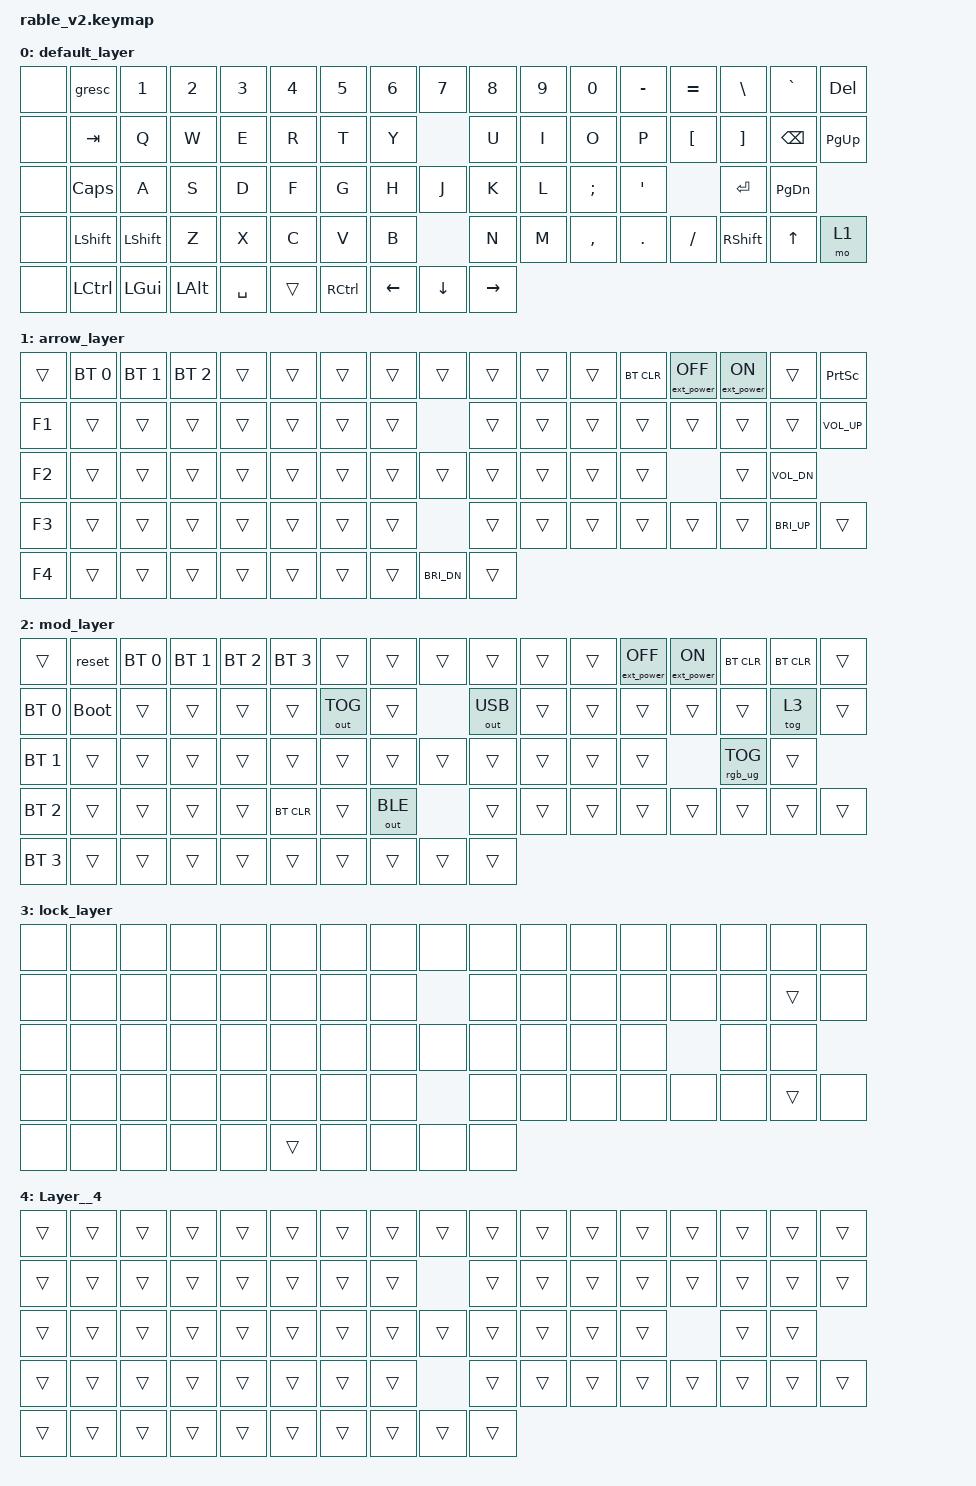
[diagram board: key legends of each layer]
/*
 * Copyright (c) 2021 Nick Winans
 *
 * SPDX-License-Identifier: MIT
 */

#include <behaviors.dtsi>
#include <dt-bindings/zmk/keys.h>
#include <dt-bindings/zmk/bt.h>
#include <dt-bindings/zmk/ext_power.h>
#include <dt-bindings/zmk/outputs.h>
#include <dt-bindings/zmk/rgb.h>

/ {
    keymap {
        compatible = "zmk,keymap";

        default_layer {
            bindings = <
&none     &gresc  &kp NUMBER_1        &kp N2     &kp N3  &kp N4     &kp N5    &kp N6    &kp N7     &kp N8     &kp N9    &kp N0  &kp MINUS  &kp EQUAL  &kp BACKSLASH  &kp GRAVE  &kp DELETE
&none    &kp TAB         &kp Q         &kp W      &kp E   &kp R      &kp T     &kp Y     &kp U      &kp I      &kp O     &kp P   &kp LBKT   &kp RBKT  &kp BACKSPACE  &kp PG_UP
&none   &kp CLCK         &kp A         &kp S      &kp D   &kp F      &kp G     &kp H     &kp J      &kp K      &kp L  &kp SEMI    &kp SQT    &kp RET      &kp PG_DN
&none  &kp LSHFT     &kp LSHFT         &kp Z      &kp X   &kp C      &kp V     &kp B     &kp N      &kp M  &kp COMMA   &kp DOT   &kp FSLH  &kp RSHFT         &kp UP      &mo 1
&none  &kp LCTRL      &kp LGUI  &kp LEFT_ALT  &kp SPACE  &trans  &kp RCTRL  &kp LEFT  &kp DOWN  &kp RIGHT
            >;
        };

        arrow_layer {
            bindings = <
&trans  &bt BT_SEL 0  &bt BT_SEL 1  &bt BT_SEL 2  &trans  &trans  &trans  &trans        &trans  &trans  &trans  &trans  &bt BT_CLR  &ext_power EP_OFF  &ext_power EP_ON        &trans  &kp PRINTSCREEN
&kp F1        &trans        &trans        &trans  &trans  &trans  &trans  &trans        &trans  &trans  &trans  &trans      &trans             &trans            &trans  &kp C_VOL_UP
&kp F2        &trans        &trans        &trans  &trans  &trans  &trans  &trans        &trans  &trans  &trans  &trans      &trans             &trans      &kp C_VOL_DN
&kp F3        &trans        &trans        &trans  &trans  &trans  &trans  &trans        &trans  &trans  &trans  &trans      &trans             &trans      &kp C_BRI_UP        &trans
&kp F4        &trans        &trans        &trans  &trans  &trans  &trans  &trans  &kp C_BRI_DN  &trans
            >;
        };

        mod_layer {
            bindings = <
      &trans       &reset  &bt BT_SEL 0  &bt BT_SEL 1  &bt BT_SEL 2  &bt BT_SEL 3        &trans        &trans        &trans  &trans  &trans  &trans  &ext_power EP_OFF  &ext_power EP_ON  &bt BT_CLR  &bt BT_CLR  &trans
&bt BT_SEL 0  &bootloader        &trans        &trans        &trans        &trans  &out OUT_TOG        &trans  &out OUT_USB  &trans  &trans  &trans             &trans            &trans      &tog 3      &trans
&bt BT_SEL 1       &trans        &trans        &trans        &trans        &trans        &trans        &trans        &trans  &trans  &trans  &trans             &trans   &rgb_ug RGB_TOG      &trans
&bt BT_SEL 2       &trans        &trans        &trans        &trans    &bt BT_CLR        &trans  &out OUT_BLE        &trans  &trans  &trans  &trans             &trans            &trans      &trans      &trans
&bt BT_SEL 3       &trans        &trans        &trans        &trans        &trans        &trans        &trans        &trans  &trans
            >;
        };

        lock_layer {
            bindings = <
&none  &none  &none  &none  &none   &none  &none  &none  &none  &none  &none  &none  &none  &none   &none  &none  &none
&none  &none  &none  &none  &none   &none  &none  &none  &none  &none  &none  &none  &none  &none  &trans  &none
&none  &none  &none  &none  &none   &none  &none  &none  &none  &none  &none  &none  &none  &none   &none
&none  &none  &none  &none  &none   &none  &none  &none  &none  &none  &none  &none  &none  &none  &trans  &none
&none  &none  &none  &none  &none  &trans  &none  &none  &none  &none
            >;
        };

        Layer__4 {
            bindings = <
&trans  &trans  &trans  &trans  &trans  &trans  &trans  &trans  &trans  &trans  &trans  &trans  &trans  &trans  &trans  &trans  &trans
&trans  &trans  &trans  &trans  &trans  &trans  &trans  &trans  &trans  &trans  &trans  &trans  &trans  &trans  &trans  &trans
&trans  &trans  &trans  &trans  &trans  &trans  &trans  &trans  &trans  &trans  &trans  &trans  &trans  &trans  &trans
&trans  &trans  &trans  &trans  &trans  &trans  &trans  &trans  &trans  &trans  &trans  &trans  &trans  &trans  &trans  &trans
&trans  &trans  &trans  &trans  &trans  &trans  &trans  &trans  &trans  &trans
            >;
        };
    };
};
